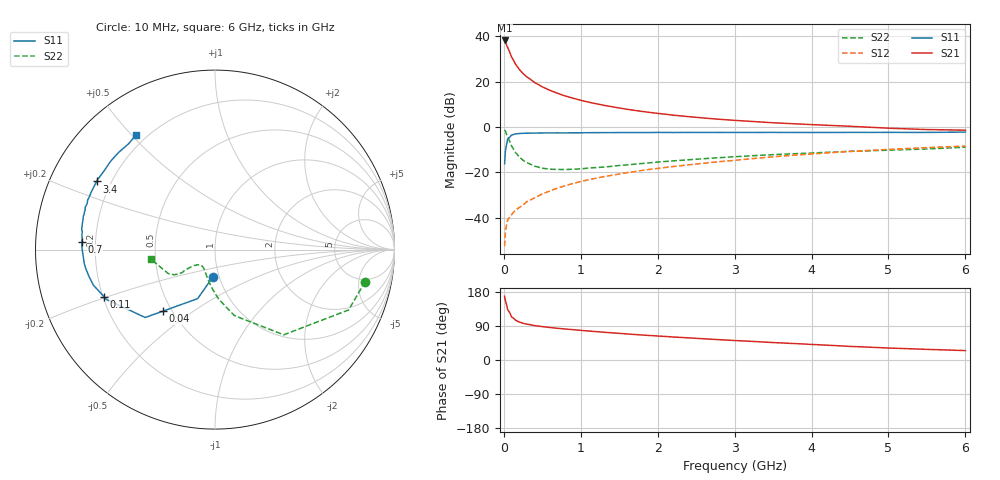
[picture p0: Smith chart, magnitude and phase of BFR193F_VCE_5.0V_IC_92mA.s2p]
! Infineon Technologies  Discrete & RF Semiconductors
! BFR193F
! VCE =  5.0 V,  IC =  92 mA
! Common Emitter S-Parameters:  Jan 2017
# GHz  S  MA  R  50
!  f  S11  S21  S12  S22
! GHz  MAG  ANG  MAG  ANG  MAG  ANG  MAG  ANG
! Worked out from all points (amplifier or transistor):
!   77 points, 10 MHz to 6 GHz, reference 50 ohm
!   highest |S21| = 38.1 dB at 10 MHz (marker M1)
!   |S21| within 3 dB of that: start of sweep to 48.68 MHz
!   unconditionally stable (mu >= 1): 481.1 MHz to 2.69 GHz
!   at 130 MHz: K = 0.65, MSG = 33.2 dB, |S12| = -37.4 dB
!   at 2.2 GHz: K = 1.03, MAG = 10.2 dB, |S12| = -17.4 dB
!   at 6 GHz: K = 0.87, MSG = 3.5 dB, |S12| = -8.4 dB
!   S11 on the Smith chart (normalised r, x): 10 MHz: 0.93, -0.29; 40 MHz: 0.45, -0.38; 110 MHz: 0.20, -0.19; 700 MHz: 0.15, +0.03; 3.4 GHz: 0.15, +0.26; 6 GHz: 0.16, +0.51
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0.01  0.1556 -95.0  80 168.2  0.0024 79.6  0.8556 -12.0
0.02  0.2899 -109.5  75.16 156.6  0.005 71.5  0.8168 -24.3
0.04  0.4503 -130.3  61.06 142.1  0.0076 60.4  0.6612 -40.4
0.05  0.5424 -135.8  55.99 132.5  0.009 57.3  0.6101 -51.1
0.1  0.6654 -155.3  34.65 113.6  0.0118 53.8  0.3828 -73.7
0.11  0.6723 -157.1  32.55 112.4  0.0124 53.9  0.3607 -75.5
0.15  0.7059 -163.7  24.37 105.3  0.0147 54.3  0.2773 -85.7
0.2  0.719 -168.4  18.61 100.2  0.017 58.6  0.2222 -93.3
0.25  0.728 -171.7  15.01 96.9  0.0193 62.1  0.1853 -99.9
0.3  0.7323 -173.9  12.6 94.5  0.0229 64.2  0.1646 -104.8
0.4  0.7355 -177.3  9.501 90.7  0.0276 68.8  0.1378 -113.0
0.5  0.7395 -179.7  7.637 88.1  0.0338 70.8  0.1241 -119.1
0.7  0.7436 176.7  5.492 83.6  0.0455 74.2  0.1167 -127.8
0.9  0.7462 173.7  4.296 80.0  0.0574 75.6  0.118 -134.0
1.1  0.7514 171.3  3.529 76.5  0.0693 76.9  0.1254 -137.2
1.5  0.7545 166.9  2.62 70.3  0.0926 76.9  0.1427 -141.8
2.1  0.7588 161.1  1.91 62.1  0.1291 76.2  0.1747 -144.7
3.1  0.7602 152.7  1.367 50.4  0.1923 73.8  0.227 -145.3
3.4  0.7612 150.1  1.27 47.2  0.214 72.7  0.2419 -146.1
4.1  0.7581 143.6  1.111 40.1  0.2625 69.2  0.2727 -149.4
5.1  0.7619 133.6  0.929 30.9  0.3278 62.9  0.3136 -160.5
6  0.7751 124.8  0.853 24.9  0.3807 57.1  0.3598 -171.3
